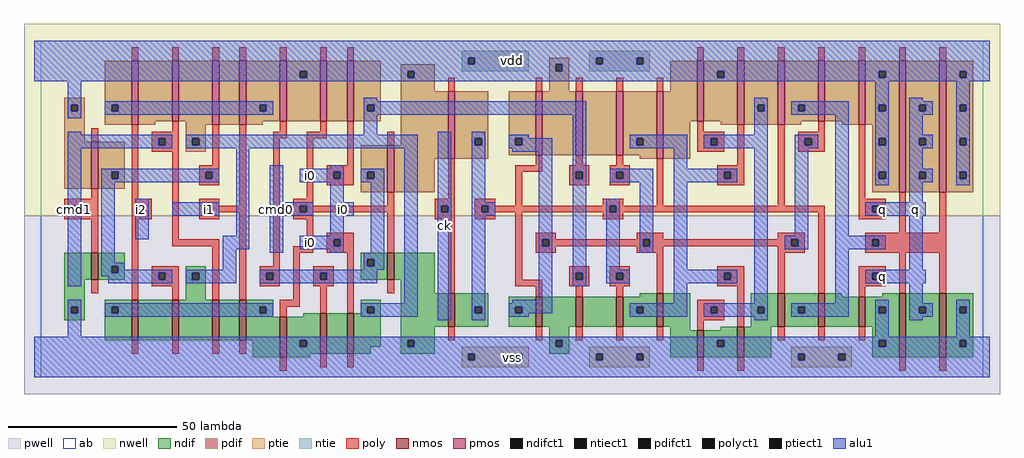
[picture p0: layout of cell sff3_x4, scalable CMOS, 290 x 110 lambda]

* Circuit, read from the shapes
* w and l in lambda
.subckt sff3_x4 ck cmd0 cmd1 i0 i1 i2 q vdd vss
M1 n1 cmd1 vss vss nfet w=8 l=2
M2 n2 i2 n3 vss nfet w=12 l=2
M3 n4 n1 n2 vss nfet w=12 l=2
M4 n5 cmd1 n4 vss nfet w=12 l=2
M5 n3 i1 n5 vss nfet w=12 l=2
M6 vss cmd0 n3 vss nfet w=12 l=2
M7 n6 n7 vss vss nfet w=12 l=2
M8 n4 i0 n6 vss nfet w=12 l=2
M9 vss cmd0 n7 vss nfet w=8 l=2
M10 n8 ck vss vss nfet w=10 l=2
M11 vss n8 n9 vss nfet w=9 l=2
M12 n10 n4 vss vss nfet w=9 l=2
M13 n11 n8 n10 vss nfet w=9 l=2
M14 n12 n9 n11 vss nfet w=10 l=2
M15 vss n13 n12 vss nfet w=8 l=2
M16 n13 n11 vss vss nfet w=9 l=2
M17 n14 n9 n13 vss nfet w=10 l=2
M18 n15 n8 n14 vss nfet w=10 l=2
M19 vss q n15 vss nfet w=9 l=2
M20 q n14 vss vss nfet w=19 l=2 m=2
M21 n1 cmd1 vdd vdd pfet w=14 l=2
M22 n16 i2 n17 vdd pfet w=19 l=2
M23 n4 cmd1 n16 vdd pfet w=18 l=2
M24 n18 n1 n4 vdd pfet w=19 l=2
M25 n17 i1 n18 vdd pfet w=19 l=2
M26 vdd n7 n17 vdd pfet w=18 l=2
M27 n19 cmd0 vdd vdd pfet w=18 l=2
M28 n4 i0 n19 vdd pfet w=18 l=2
M29 vdd cmd0 n7 vdd pfet w=14 l=2
M30 n8 ck vdd vdd pfet w=20 l=2
M31 vdd n8 n9 vdd pfet w=19 l=2
M32 n20 n4 vdd vdd pfet w=19 l=2
M33 n11 n9 n20 vdd pfet w=19 l=2
M34 n21 n8 n11 vdd pfet w=20 l=2
M35 vdd n13 n21 vdd pfet w=18 l=2
M36 n13 n11 vdd vdd pfet w=19 l=2
M37 n14 n8 n13 vdd pfet w=19 l=2
M38 n22 n9 n14 vdd pfet w=18 l=2
M39 vdd q n22 vdd pfet w=19 l=2
M40 q n14 vdd vdd pfet w=39 l=2 m=2
.ends

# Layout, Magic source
magic
tech scmos
<< ab >>
rect 0 0 280 100
<< nwell >>
rect -5 48 285 105
<< pwell >>
rect -5 -5 285 48
<< poly >>
rect 27 94 29 98
rect 39 94 41 98
rect 51 94 53 98
rect 59 94 61 98
rect 71 94 73 98
rect 83 94 85 98
rect 91 94 93 98
rect 15 70 17 74
rect 15 53 17 56
rect 7 51 17 53
rect 7 49 9 51
rect 11 49 17 51
rect 7 47 17 49
rect 15 37 17 47
rect 27 53 29 75
rect 39 73 41 76
rect 33 71 41 73
rect 33 69 35 71
rect 37 69 41 71
rect 33 67 41 69
rect 195 94 197 98
rect 207 94 209 98
rect 219 94 221 98
rect 231 94 233 98
rect 243 94 245 98
rect 255 94 257 98
rect 267 94 269 98
rect 121 85 123 89
rect 147 85 149 89
rect 159 85 161 89
rect 171 85 173 89
rect 183 85 185 89
rect 27 51 33 53
rect 27 49 29 51
rect 31 49 33 51
rect 27 47 33 49
rect 15 25 17 29
rect 27 23 29 47
rect 39 41 41 67
rect 51 63 53 75
rect 47 61 53 63
rect 47 59 49 61
rect 51 59 53 61
rect 47 57 53 59
rect 47 51 53 53
rect 59 51 61 75
rect 71 73 73 76
rect 83 73 85 76
rect 47 49 49 51
rect 51 49 61 51
rect 47 47 53 49
rect 39 39 53 41
rect 33 31 41 33
rect 33 29 35 31
rect 37 29 41 31
rect 33 27 41 29
rect 39 23 41 27
rect 51 23 53 39
rect 59 23 61 49
rect 69 71 73 73
rect 79 71 85 73
rect 69 33 71 71
rect 79 53 81 71
rect 91 63 93 76
rect 103 69 105 73
rect 85 61 93 63
rect 85 59 87 61
rect 89 59 93 61
rect 85 57 93 59
rect 75 51 81 53
rect 103 51 105 55
rect 121 53 123 65
rect 147 63 149 66
rect 159 63 161 66
rect 171 63 173 66
rect 195 73 197 76
rect 195 71 203 73
rect 195 69 199 71
rect 201 69 203 71
rect 195 67 203 69
rect 141 61 149 63
rect 157 61 163 63
rect 75 49 77 51
rect 79 49 105 51
rect 75 47 81 49
rect 79 39 81 47
rect 65 31 71 33
rect 65 29 67 31
rect 69 29 71 31
rect 65 27 71 29
rect 75 37 81 39
rect 85 41 93 43
rect 85 39 87 41
rect 89 39 93 41
rect 85 37 93 39
rect 103 37 105 49
rect 117 51 123 53
rect 117 49 119 51
rect 121 49 123 51
rect 117 47 123 49
rect 129 51 135 53
rect 141 51 143 61
rect 157 59 159 61
rect 161 59 163 61
rect 157 57 163 59
rect 169 61 175 63
rect 169 59 171 61
rect 173 59 175 61
rect 169 57 175 59
rect 167 51 173 53
rect 183 51 185 65
rect 207 63 209 75
rect 201 61 209 63
rect 201 59 203 61
rect 205 59 209 61
rect 201 57 209 59
rect 219 51 221 75
rect 231 73 233 76
rect 225 71 233 73
rect 225 69 227 71
rect 229 69 233 71
rect 225 67 233 69
rect 243 53 245 75
rect 243 51 251 53
rect 129 49 131 51
rect 133 49 169 51
rect 171 49 233 51
rect 129 47 135 49
rect 75 23 77 37
rect 81 31 87 33
rect 81 29 83 31
rect 85 29 87 31
rect 81 27 87 29
rect 71 21 77 23
rect 71 18 73 21
rect 83 19 85 27
rect 91 19 93 37
rect 103 25 105 29
rect 121 25 123 47
rect 141 29 143 49
rect 167 47 173 49
rect 147 41 153 43
rect 177 41 185 43
rect 219 41 227 43
rect 147 39 149 41
rect 151 39 179 41
rect 181 39 223 41
rect 225 39 227 41
rect 147 37 153 39
rect 177 37 185 39
rect 157 31 163 33
rect 157 29 159 31
rect 161 29 163 31
rect 141 27 149 29
rect 157 27 163 29
rect 169 31 175 33
rect 169 29 171 31
rect 173 29 175 31
rect 169 27 175 29
rect 27 7 29 11
rect 39 7 41 11
rect 51 7 53 11
rect 59 7 61 11
rect 147 24 149 27
rect 159 24 161 27
rect 171 24 173 27
rect 183 25 185 37
rect 219 37 227 39
rect 201 31 209 33
rect 201 29 203 31
rect 205 29 209 31
rect 201 27 209 29
rect 121 11 123 15
rect 147 11 149 15
rect 159 11 161 15
rect 171 11 173 15
rect 183 11 185 15
rect 195 21 203 23
rect 195 19 199 21
rect 201 19 203 21
rect 195 17 203 19
rect 195 14 197 17
rect 207 15 209 27
rect 219 25 221 37
rect 231 25 233 49
rect 243 49 247 51
rect 249 49 251 51
rect 243 47 251 49
rect 255 43 257 55
rect 267 43 269 55
rect 245 41 269 43
rect 245 39 247 41
rect 249 39 269 41
rect 245 37 269 39
rect 243 31 251 33
rect 243 29 247 31
rect 249 29 251 31
rect 243 27 251 29
rect 243 24 245 27
rect 255 25 257 37
rect 267 25 269 37
rect 71 2 73 6
rect 83 3 85 7
rect 91 3 93 7
rect 219 11 221 15
rect 231 11 233 15
rect 243 11 245 15
rect 195 2 197 6
rect 207 2 209 6
rect 255 2 257 6
rect 267 2 269 6
<< ndif >>
rect 7 29 15 37
rect 17 33 25 37
rect 17 31 21 33
rect 23 31 25 33
rect 17 29 25 31
rect 7 21 13 29
rect 43 31 49 33
rect 43 29 45 31
rect 47 29 49 31
rect 43 23 49 29
rect 7 19 9 21
rect 11 19 13 21
rect 7 17 13 19
rect 19 21 27 23
rect 19 19 21 21
rect 23 19 27 21
rect 19 11 27 19
rect 29 11 39 23
rect 41 11 51 23
rect 53 11 59 23
rect 61 21 69 23
rect 61 19 65 21
rect 67 19 69 21
rect 61 18 69 19
rect 95 35 103 37
rect 95 33 97 35
rect 99 33 103 35
rect 95 29 103 33
rect 105 29 117 37
rect 107 25 117 29
rect 95 21 101 23
rect 95 19 97 21
rect 99 19 101 21
rect 78 18 83 19
rect 61 11 71 18
rect 63 6 71 11
rect 73 11 83 18
rect 73 9 77 11
rect 79 9 83 11
rect 73 7 83 9
rect 85 7 91 19
rect 93 9 101 19
rect 107 15 121 25
rect 123 21 133 25
rect 178 24 183 25
rect 123 19 129 21
rect 131 19 133 21
rect 123 15 133 19
rect 139 21 147 24
rect 139 19 141 21
rect 143 19 147 21
rect 139 15 147 19
rect 149 15 159 24
rect 161 15 171 24
rect 173 21 183 24
rect 173 19 177 21
rect 179 19 183 21
rect 173 15 183 19
rect 185 15 193 25
rect 107 11 117 15
rect 151 11 157 15
rect 187 14 193 15
rect 211 21 219 25
rect 211 19 213 21
rect 215 19 219 21
rect 211 15 219 19
rect 221 21 231 25
rect 221 19 225 21
rect 227 19 231 21
rect 221 15 231 19
rect 233 24 238 25
rect 250 24 255 25
rect 233 15 243 24
rect 245 21 255 24
rect 245 19 249 21
rect 251 19 255 21
rect 245 15 255 19
rect 202 14 207 15
rect 107 9 109 11
rect 111 9 117 11
rect 151 9 153 11
rect 155 9 157 11
rect 93 7 98 9
rect 107 7 117 9
rect 151 7 157 9
rect 73 6 80 7
rect 187 6 195 14
rect 197 11 207 14
rect 197 9 201 11
rect 203 9 207 11
rect 197 6 207 9
rect 209 6 217 15
rect 247 11 255 15
rect 247 9 249 11
rect 251 9 255 11
rect 247 6 255 9
rect 257 21 267 25
rect 257 19 261 21
rect 263 19 267 21
rect 257 6 267 19
rect 269 21 277 25
rect 269 19 273 21
rect 275 19 277 21
rect 269 11 277 19
rect 269 9 273 11
rect 275 9 277 11
rect 269 6 277 9
<< pdif >>
rect 7 81 13 83
rect 7 79 9 81
rect 11 79 13 81
rect 7 70 13 79
rect 19 81 27 94
rect 19 79 21 81
rect 23 79 27 81
rect 19 75 27 79
rect 29 76 39 94
rect 41 76 51 94
rect 29 75 34 76
rect 7 56 15 70
rect 17 61 25 70
rect 17 59 21 61
rect 23 59 25 61
rect 17 56 25 59
rect 43 75 51 76
rect 53 75 59 94
rect 61 81 71 94
rect 61 79 65 81
rect 67 79 71 81
rect 61 76 71 79
rect 73 91 83 94
rect 73 89 77 91
rect 79 89 83 91
rect 73 76 83 89
rect 85 76 91 94
rect 93 81 101 94
rect 93 79 97 81
rect 99 79 101 81
rect 93 76 101 79
rect 107 91 117 93
rect 151 93 157 95
rect 151 91 153 93
rect 155 91 157 93
rect 107 89 109 91
rect 111 89 117 91
rect 107 85 117 89
rect 151 85 157 91
rect 187 85 195 94
rect 61 75 66 76
rect 43 71 49 75
rect 43 69 45 71
rect 47 69 49 71
rect 43 67 49 69
rect 107 69 121 85
rect 95 61 103 69
rect 95 59 97 61
rect 99 59 103 61
rect 95 55 103 59
rect 105 65 121 69
rect 123 71 133 85
rect 123 69 129 71
rect 131 69 133 71
rect 123 65 133 69
rect 139 71 147 85
rect 139 69 141 71
rect 143 69 147 71
rect 139 66 147 69
rect 149 66 159 85
rect 161 66 171 85
rect 173 71 183 85
rect 173 69 177 71
rect 179 69 183 71
rect 173 66 183 69
rect 105 55 117 65
rect 178 65 183 66
rect 185 76 195 85
rect 197 91 207 94
rect 197 89 201 91
rect 203 89 207 91
rect 197 76 207 89
rect 185 65 193 76
rect 202 75 207 76
rect 209 81 219 94
rect 209 79 213 81
rect 215 79 219 81
rect 209 75 219 79
rect 221 81 231 94
rect 221 79 225 81
rect 227 79 231 81
rect 221 76 231 79
rect 233 76 243 94
rect 221 75 226 76
rect 238 75 243 76
rect 245 91 255 94
rect 245 89 249 91
rect 251 89 255 91
rect 245 81 255 89
rect 245 79 249 81
rect 251 79 255 81
rect 245 75 255 79
rect 247 71 255 75
rect 247 69 249 71
rect 251 69 255 71
rect 247 61 255 69
rect 247 59 249 61
rect 251 59 255 61
rect 247 55 255 59
rect 257 81 267 94
rect 257 79 261 81
rect 263 79 267 81
rect 257 71 267 79
rect 257 69 261 71
rect 263 69 267 71
rect 257 61 267 69
rect 257 59 261 61
rect 263 59 267 61
rect 257 55 267 59
rect 269 91 277 94
rect 269 89 273 91
rect 275 89 277 91
rect 269 81 277 89
rect 269 79 273 81
rect 275 79 277 81
rect 269 71 277 79
rect 269 69 273 71
rect 275 69 277 71
rect 269 61 277 69
rect 269 59 273 61
rect 275 59 277 61
rect 269 55 277 59
<< alu1 >>
rect -2 95 282 100
rect -2 93 127 95
rect 129 93 141 95
rect 143 93 165 95
rect 167 93 177 95
rect 179 93 282 95
rect -2 91 153 93
rect 155 91 282 93
rect -2 89 77 91
rect 79 89 109 91
rect 111 89 201 91
rect 203 89 249 91
rect 251 89 273 91
rect 275 89 282 91
rect -2 88 282 89
rect 8 81 12 88
rect 96 82 100 83
rect 8 79 9 81
rect 11 79 12 81
rect 8 77 12 79
rect 19 81 69 82
rect 19 79 21 81
rect 23 79 65 81
rect 67 79 69 81
rect 19 78 69 79
rect 96 81 162 82
rect 96 79 97 81
rect 99 79 162 81
rect 96 78 162 79
rect 8 72 12 73
rect 96 72 100 78
rect 8 71 39 72
rect 8 69 35 71
rect 37 69 39 71
rect 8 68 39 69
rect 43 71 112 72
rect 43 69 45 71
rect 47 69 112 71
rect 43 68 112 69
rect 8 51 12 68
rect 8 49 9 51
rect 11 49 12 51
rect 8 27 12 49
rect 18 61 53 62
rect 18 59 21 61
rect 23 59 49 61
rect 51 59 53 61
rect 18 58 53 59
rect 18 34 22 58
rect 28 51 32 53
rect 28 49 29 51
rect 31 49 32 51
rect 28 41 32 49
rect 39 51 53 52
rect 39 49 49 51
rect 51 49 53 51
rect 39 48 53 49
rect 58 42 62 68
rect 54 38 62 42
rect 68 52 72 63
rect 86 62 90 63
rect 77 61 90 62
rect 77 59 87 61
rect 89 59 90 61
rect 77 58 90 59
rect 95 61 102 62
rect 95 59 97 61
rect 99 59 102 61
rect 95 58 102 59
rect 86 52 90 58
rect 68 51 81 52
rect 68 49 77 51
rect 79 49 81 51
rect 68 48 81 49
rect 86 48 93 52
rect 18 33 25 34
rect 18 31 21 33
rect 23 32 25 33
rect 54 32 58 38
rect 68 37 72 48
rect 86 42 90 48
rect 77 41 90 42
rect 77 39 87 41
rect 89 39 90 41
rect 77 38 90 39
rect 86 37 90 38
rect 98 37 102 58
rect 96 35 102 37
rect 96 33 97 35
rect 99 33 102 35
rect 96 32 102 33
rect 23 31 39 32
rect 18 30 35 31
rect 20 29 35 30
rect 37 29 39 31
rect 20 28 39 29
rect 43 31 58 32
rect 43 29 45 31
rect 47 29 58 31
rect 43 28 58 29
rect 65 31 100 32
rect 65 29 67 31
rect 69 29 83 31
rect 85 29 100 31
rect 65 28 100 29
rect 8 21 12 23
rect 108 22 112 68
rect 8 19 9 21
rect 11 19 12 21
rect 8 12 12 19
rect 19 21 69 22
rect 19 19 21 21
rect 23 19 65 21
rect 67 19 69 21
rect 19 18 69 19
rect 95 21 112 22
rect 95 19 97 21
rect 99 19 112 21
rect 95 18 112 19
rect 118 51 122 73
rect 118 49 119 51
rect 121 49 122 51
rect 118 17 122 49
rect 128 71 132 73
rect 128 69 129 71
rect 131 69 132 71
rect 128 52 132 69
rect 139 71 145 72
rect 139 69 141 71
rect 143 69 152 71
rect 139 68 152 69
rect 140 67 152 68
rect 128 51 135 52
rect 128 49 131 51
rect 133 49 135 51
rect 128 48 135 49
rect 128 21 132 48
rect 148 41 152 67
rect 148 39 149 41
rect 151 39 152 41
rect 148 23 152 39
rect 158 61 162 78
rect 212 81 216 83
rect 212 79 213 81
rect 215 79 216 81
rect 212 72 216 79
rect 223 81 240 82
rect 223 79 225 81
rect 227 79 240 81
rect 223 78 240 79
rect 175 71 192 72
rect 175 69 177 71
rect 179 69 192 71
rect 175 68 192 69
rect 197 71 216 72
rect 197 69 199 71
rect 201 69 216 71
rect 197 68 216 69
rect 188 62 192 68
rect 158 59 159 61
rect 161 59 162 61
rect 158 31 162 59
rect 169 61 182 62
rect 169 59 171 61
rect 173 59 182 61
rect 169 58 182 59
rect 158 29 159 31
rect 161 29 162 31
rect 158 27 162 29
rect 168 51 172 53
rect 168 49 169 51
rect 171 49 172 51
rect 168 32 172 49
rect 178 41 182 58
rect 178 39 179 41
rect 181 39 182 41
rect 178 37 182 39
rect 188 61 207 62
rect 188 59 203 61
rect 205 59 207 61
rect 188 58 207 59
rect 188 32 192 58
rect 168 31 175 32
rect 168 29 171 31
rect 173 29 175 31
rect 168 28 175 29
rect 188 31 207 32
rect 188 29 203 31
rect 205 29 207 31
rect 188 28 207 29
rect 140 22 152 23
rect 188 22 192 28
rect 212 22 216 68
rect 224 71 231 72
rect 224 69 227 71
rect 229 69 231 71
rect 224 68 231 69
rect 224 42 228 68
rect 221 41 228 42
rect 221 39 223 41
rect 225 39 228 41
rect 221 38 228 39
rect 236 42 240 78
rect 248 81 252 88
rect 248 79 249 81
rect 251 79 252 81
rect 248 71 252 79
rect 248 69 249 71
rect 251 69 252 71
rect 248 61 252 69
rect 248 59 249 61
rect 251 59 252 61
rect 248 57 252 59
rect 258 82 262 83
rect 258 81 265 82
rect 258 79 261 81
rect 263 79 265 81
rect 258 78 265 79
rect 272 81 276 88
rect 272 79 273 81
rect 275 79 276 81
rect 258 72 262 78
rect 258 71 265 72
rect 258 69 261 71
rect 263 69 265 71
rect 258 68 265 69
rect 272 71 276 79
rect 272 69 273 71
rect 275 69 276 71
rect 258 62 262 68
rect 258 61 265 62
rect 258 59 261 61
rect 263 59 265 61
rect 258 58 265 59
rect 272 61 276 69
rect 272 59 273 61
rect 275 59 276 61
rect 258 52 262 58
rect 272 57 276 59
rect 245 51 263 52
rect 245 49 247 51
rect 249 49 263 51
rect 245 48 263 49
rect 236 41 251 42
rect 236 39 247 41
rect 249 39 251 41
rect 236 38 251 39
rect 236 22 240 38
rect 258 32 262 48
rect 245 31 263 32
rect 245 29 247 31
rect 249 29 263 31
rect 245 28 263 29
rect 128 19 129 21
rect 131 19 132 21
rect 128 17 132 19
rect 139 21 152 22
rect 139 19 141 21
rect 143 19 152 21
rect 175 21 192 22
rect 175 19 177 21
rect 179 19 192 21
rect 139 18 145 19
rect 175 18 192 19
rect 197 21 216 22
rect 197 19 199 21
rect 201 19 213 21
rect 215 19 216 21
rect 197 18 216 19
rect 223 21 240 22
rect 223 19 225 21
rect 227 19 240 21
rect 223 18 240 19
rect 248 21 252 23
rect 248 19 249 21
rect 251 19 252 21
rect 212 17 216 18
rect 248 12 252 19
rect 258 22 262 28
rect 258 21 265 22
rect 258 19 261 21
rect 263 19 265 21
rect 258 18 265 19
rect 272 21 276 23
rect 272 19 273 21
rect 275 19 276 21
rect 258 17 262 18
rect 272 12 276 19
rect -2 11 282 12
rect -2 9 77 11
rect 79 9 109 11
rect 111 9 153 11
rect 155 9 201 11
rect 203 9 249 11
rect 251 9 273 11
rect 275 9 282 11
rect -2 7 282 9
rect -2 5 127 7
rect 129 5 141 7
rect 143 5 165 7
rect 167 5 177 7
rect 179 5 225 7
rect 227 5 237 7
rect 239 5 282 7
rect -2 0 282 5
<< ptie >>
rect 125 7 145 9
rect 163 7 181 9
rect 125 5 127 7
rect 129 5 141 7
rect 143 5 145 7
rect 125 3 145 5
rect 163 5 165 7
rect 167 5 177 7
rect 179 5 181 7
rect 223 7 241 9
rect 163 3 181 5
rect 223 5 225 7
rect 227 5 237 7
rect 239 5 241 7
rect 223 3 241 5
<< ntie >>
rect 125 95 145 97
rect 163 95 181 97
rect 125 93 127 95
rect 129 93 141 95
rect 143 93 145 95
rect 125 91 145 93
rect 163 93 165 95
rect 167 93 177 95
rect 179 93 181 95
rect 163 91 181 93
<< nmos >>
rect 15 29 17 37
rect 27 11 29 23
rect 39 11 41 23
rect 51 11 53 23
rect 59 11 61 23
rect 103 29 105 37
rect 71 6 73 18
rect 83 7 85 19
rect 91 7 93 19
rect 121 15 123 25
rect 147 15 149 24
rect 159 15 161 24
rect 171 15 173 24
rect 183 15 185 25
rect 219 15 221 25
rect 231 15 233 25
rect 243 15 245 24
rect 195 6 197 14
rect 207 6 209 15
rect 255 6 257 25
rect 267 6 269 25
<< pmos >>
rect 27 75 29 94
rect 39 76 41 94
rect 15 56 17 70
rect 51 75 53 94
rect 59 75 61 94
rect 71 76 73 94
rect 83 76 85 94
rect 91 76 93 94
rect 103 55 105 69
rect 121 65 123 85
rect 147 66 149 85
rect 159 66 161 85
rect 171 66 173 85
rect 183 65 185 85
rect 195 76 197 94
rect 207 75 209 94
rect 219 75 221 94
rect 231 76 233 94
rect 243 75 245 94
rect 255 55 257 94
rect 267 55 269 94
<< polyct1 >>
rect 9 49 11 51
rect 35 69 37 71
rect 29 49 31 51
rect 49 59 51 61
rect 49 49 51 51
rect 35 29 37 31
rect 87 59 89 61
rect 199 69 201 71
rect 77 49 79 51
rect 67 29 69 31
rect 87 39 89 41
rect 119 49 121 51
rect 159 59 161 61
rect 171 59 173 61
rect 203 59 205 61
rect 227 69 229 71
rect 131 49 133 51
rect 169 49 171 51
rect 83 29 85 31
rect 149 39 151 41
rect 179 39 181 41
rect 223 39 225 41
rect 159 29 161 31
rect 171 29 173 31
rect 203 29 205 31
rect 199 19 201 21
rect 247 49 249 51
rect 247 39 249 41
rect 247 29 249 31
<< ndifct1 >>
rect 21 31 23 33
rect 45 29 47 31
rect 9 19 11 21
rect 21 19 23 21
rect 65 19 67 21
rect 97 33 99 35
rect 97 19 99 21
rect 77 9 79 11
rect 129 19 131 21
rect 141 19 143 21
rect 177 19 179 21
rect 213 19 215 21
rect 225 19 227 21
rect 249 19 251 21
rect 109 9 111 11
rect 153 9 155 11
rect 201 9 203 11
rect 249 9 251 11
rect 261 19 263 21
rect 273 19 275 21
rect 273 9 275 11
<< ntiect1 >>
rect 127 93 129 95
rect 141 93 143 95
rect 165 93 167 95
rect 177 93 179 95
<< ptiect1 >>
rect 127 5 129 7
rect 141 5 143 7
rect 165 5 167 7
rect 177 5 179 7
rect 225 5 227 7
rect 237 5 239 7
<< pdifct1 >>
rect 9 79 11 81
rect 21 79 23 81
rect 21 59 23 61
rect 65 79 67 81
rect 77 89 79 91
rect 97 79 99 81
rect 153 91 155 93
rect 109 89 111 91
rect 45 69 47 71
rect 97 59 99 61
rect 129 69 131 71
rect 141 69 143 71
rect 177 69 179 71
rect 201 89 203 91
rect 213 79 215 81
rect 225 79 227 81
rect 249 89 251 91
rect 249 79 251 81
rect 249 69 251 71
rect 249 59 251 61
rect 261 79 263 81
rect 261 69 263 71
rect 261 59 263 61
rect 273 89 275 91
rect 273 79 275 81
rect 273 69 275 71
rect 273 59 275 61
<< labels >>
rlabel polyct1 50 50 50 50 6 i1
rlabel polyct1 10 50 10 50 6 cmd1
rlabel polyct1 30 50 30 50 6 i2
rlabel alu1 80 40 80 40 6 i0
rlabel alu1 90 50 90 50 6 i0
rlabel alu1 70 50 70 50 6 cmd0
rlabel alu1 80 60 80 60 6 i0
rlabel alu1 140 6 140 6 6 vss
rlabel alu1 120 45 120 45 6 ck
rlabel alu1 140 94 140 94 6 vdd
rlabel alu1 250 30 250 30 6 q
rlabel alu1 260 50 260 50 6 q
rlabel alu1 250 50 250 50 6 q
<< end >>
